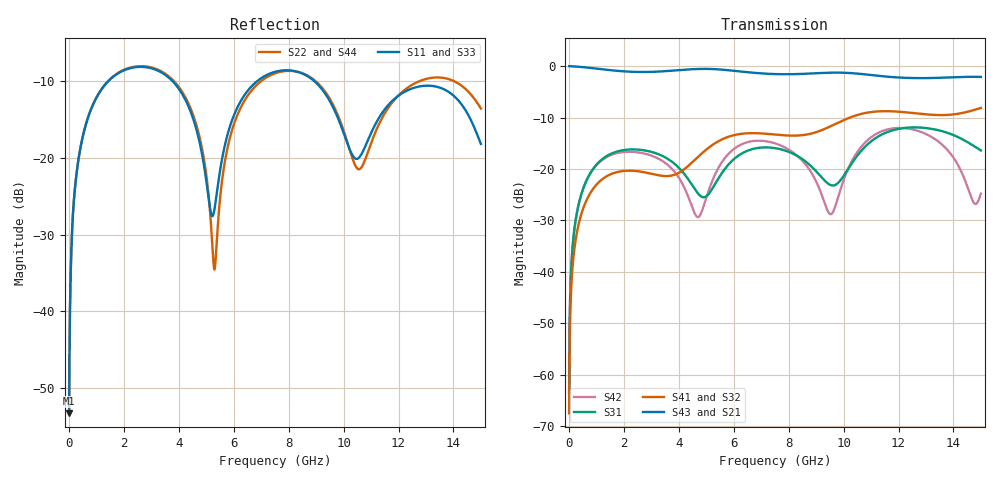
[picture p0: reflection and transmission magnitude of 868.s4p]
! Created with skrf 1.8.0 (http://scikit-rf.org).
# GHz S RI R 50.0
!freq ReS11 ImS11 ReS12 ImS12 ReS13 ImS13
! ReS14 ImS14
! ReS21 ImS21 ReS22 ImS22 ReS23 ImS23
! ReS24 ImS24
! ReS31 ImS31 ReS32 ImS32 ReS33 ImS33
! ReS34 ImS34
! ReS41 ImS41 ReS42 ImS42 ReS43 ImS43
! ReS44 ImS44
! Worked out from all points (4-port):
!   2499 points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, 5 MHz to 15 GHz, reference 50 ohm
!   strongest paths, dB at 5 MHz, 3.476 GHz, 7.19 GHz, 11.1 GHz, 15 GHz:
!     S43: 0.0, -1.0, -1.5, -1.8, -2.1
!     S21: 0.0, -1.0, -1.5, -1.8, -2.1
!     S41: -67.5, -21.4, -13.2, -8.9, -8.1
!     S32: -67.5, -21.4, -13.2, -8.9, -8.1
!     S31: -63.6, -17.7, -15.8, -14.2, -16.4
!     S42: -63.6, -18.7, -14.6, -13.5, -24.8
!   lowest |S11| = -53.4 dB at 5 MHz (marker M1), VSWR 1.00, Z = 50.2 + j0.131 ohm
!   |S11| at or under -10 dB: start of sweep to 1.423 GHz; 3.781 GHz to 6.839 GHz (3.058 GHz wide, 57.6 % of centre); 8.946 GHz to end of sweep
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0.005  0.00171 0.0013  0.9983 -0.00333  8.54e-05 0.000657  -8.3e-05 -0.000415
       0.9983 -0.00333  0.00171 0.0013  -8.3e-05 -0.000415  8.52e-05 0.000657
       8.54e-05 0.000657  -8.3e-05 -0.000415  0.00171 0.0013  0.9983 -0.00333
       -8.3e-05 -0.000415  8.52e-05 0.000657  0.9983 -0.00333  0.00171 0.0013
0.3126303  0.0257 0.0853  0.9648 -0.2066  0.0121 0.0387  -0.00966 -0.0242
           0.9648 -0.2066  0.0258 0.0853  -0.00966 -0.0242  0.0111 0.0389
           0.0121 0.0387  -0.00966 -0.0242  0.0257 0.0853  0.9648 -0.2066
           -0.00966 -0.0242  0.0111 0.0389  0.9648 -0.2066  0.0258 0.0853
1.569404  0.2856 0.1743  0.5126 -0.7506  0.1349 0.0449  -0.0901 -0.00052
          0.5126 -0.7506  0.2897 0.1713  -0.0901 -0.000512  0.123 0.0626
          0.1349 0.0449  -0.0901 -0.000512  0.2855 0.1743  0.5126 -0.7506
          -0.0901 -0.00052  0.123 0.0626  0.5126 -0.7506  0.2896 0.1713
5.295957  0.0431 0.0161  -0.9335 -0.0327  -0.0361 0.0596  -0.00166 0.1765
          -0.9335 -0.0327  0.0186 -0.00147  -0.00133 0.1764  0.0507 0.0692
          -0.0361 0.0596  -0.00133 0.1764  0.0446 0.016  -0.9335 -0.033
          -0.00166 0.1765  0.0507 0.0692  -0.9335 -0.033  0.0171 -0.00161
8.090871  0.3716 -0.0291  -0.0145 0.8329  0.1179 -0.082  0.2046 -0.052
          -0.0145 0.8329  0.3701 -0.0187  0.2043 -0.0521  0.1247 -0.0818
          0.1179 -0.082  0.2043 -0.0521  0.3689 -0.0311  -0.015 0.834
          0.2046 -0.052  0.1247 -0.0818  -0.015 0.834  0.3673 -0.0161
10.85452  0.1195 0.0421  0.826 -0.0475  0.0361 0.168  -0.0418 -0.3502
          0.826 -0.0475  0.0991 0.0356  -0.0424 -0.3499  0.0575 0.1798
          0.0361 0.168  -0.0424 -0.3499  0.1205 0.0477  0.8257 -0.0481
          -0.0418 -0.3502  0.0575 0.1798  0.8257 -0.0481  0.0988 0.042
15  0.1151 -0.045  -0.5841 -0.5241  -0.1123 -0.1018  -0.2558 0.2975
    -0.5841 -0.5241  0.1568 -0.1402  -0.2547 0.2985  0.0379 0.0435
    -0.1123 -0.1018  -0.2547 0.2985  0.1164 -0.0455  -0.5816 -0.5267
    -0.2558 0.2975  0.0379 0.0435  -0.5816 -0.5267  0.1582 -0.1396
